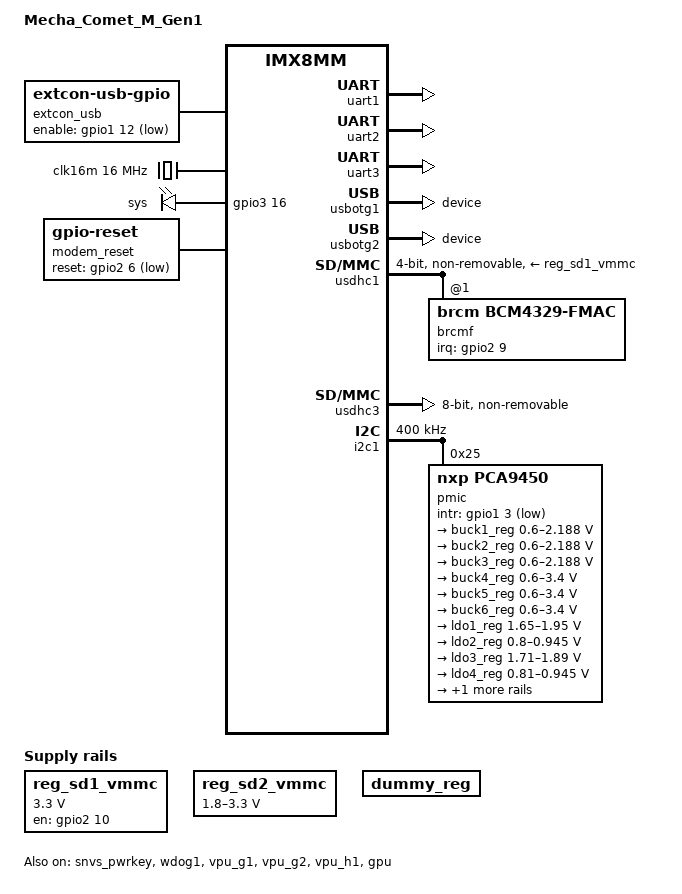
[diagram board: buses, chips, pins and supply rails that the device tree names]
// SPDX-License-Identifier: (GPL-2.0+ OR MIT)
/*
 * Copyright 2019 NXP
 */

/dts-v1/;

#include <dt-bindings/usb/pd.h>
#include "imx8mm.dtsi"

/ {
	model = "Mecha_Comet_M_Gen1";
	compatible = "fsl,imx8mm-evk", "fsl,imx8mm";

	reserved-memory {
		#address-cells = <2>;
		#size-cells = <2>;
		ranges;

		rpmsg_reserved: rpmsg@0xb8000000 {
			no-map;
			reg = <0 0xb8000000 0 0x400000>;
		};
	};

	chosen {
		stdout-path = &uart2;
	};

	extcon_usb: extcon_usb1otg {
		compatible = "linux,extcon-usb-gpio";
		pinctrl-names = "default";
		pinctrl-0 = <&pinctrl_extcon_usb>;
		// id-gpio = <&gpio1 10 GPIO_ACTIVE_HIGH>;
		enable-gpio = <&gpio1 12 GPIO_ACTIVE_LOW>;
	};

	clk16m: clk16m {
		compatible = "fixed-clock";
		#clock-cells = <0>;
		clock-frequency = <16000000>;
	};

	leds {
		compatible = "gpio-leds";
		pinctrl-names = "default";
		pinctrl-0 = <&pinctrl_gpio_led>;

		sys {
			label = "sys";
			gpios = <&gpio3 16 GPIO_ACTIVE_HIGH>;
			linux,default-trigger = "heartbeat";
		};

	/* Comment below section for control GPIO4_IO29 pin from user space */
	/*	beep {
			label = "beep";
			gpios = <&gpio4 29 GPIO_ACTIVE_HIGH>;
			default-state = "off";
		}; */
	};

	modem_reset: modem-reset {
		compatible = "gpio-reset";
		reset-gpios = <&gpio2 6 GPIO_ACTIVE_LOW>;
		reset-delay-us = <2000>;
		reset-post-delay-ms = <40>;
		#reset-cells = <0>;
	};

	regulators {
		compatible = "simple-bus";
		#address-cells = <1>;
		#size-cells = <0>;

		reg_sd1_vmmc: sd1_regulator {
			compatible = "regulator-fixed";
			regulator-name = "WLAN_EN";
			regulator-min-microvolt = <3300000>;
			regulator-max-microvolt = <3300000>;
			gpio = <&gpio2 10 GPIO_ACTIVE_HIGH>;
			off-on-delay = <20000>;
			startup-delay-us = <100>;
			enable-active-high;
		};

		reg_sd2_vmmc: sd2_regulator {
			compatible = "regulator-fixed";
			regulator-name = "NVCC_SD2";
			regulator-min-microvolt = <1800000>;
			regulator-max-microvolt = <3300000>;
		};

		dummy_reg: dummy_regulator {
			compatible = "regulator-fixed";
			regulator-name = "dummy";
		};
	};

	pcie0_refclk: pcie0-refclk {
		status = "disabled";
		compatible = "fixed-clock";
		#clock-cells = <0>;
		clock-frequency = <100000000>;
	};
};

&fec1 {
	status = "disabled";
};

&A53_0 {
	cpu-supply = <&buck2_reg>;
};

&pcie0{
	status = "disabled";
};

&snvs_pwrkey {
	status = "okay";
};

&uart1 { /* BT */
	pinctrl-names = "default";
	pinctrl-0 = <&pinctrl_uart1>;
	assigned-clocks = <&clk IMX8MM_CLK_UART1>;
	assigned-clock-parents = <&clk IMX8MM_SYS_PLL1_80M>;
	fsl,uart-has-rtscts;
	resets = <&modem_reset>;
	status = "okay";
};

&uart2 { /* console */
	pinctrl-names = "default";
	pinctrl-0 = <&pinctrl_uart2>;
	status = "okay";
};

&uart3 {
	pinctrl-names = "default";
	pinctrl-0 = <&pinctrl_uart3>;
//	assigned-clocks = <&clk IMX8MM_CLK_UART3>;
//	assigned-clock-parents = <&clk IMX8MM_SYS_PLL1_80M>;
//	fsl,uart-has-rtscts;
	status = "okay";
};

&uart4 {
	pinctrl-names = "default";
	pinctrl-0 = <&pinctrl_uart4>;
	/delete-property/ dmas;
	/delete-property/ dmas-names;
	status = "disable";
};

&usbotg1 {
	dr_mode = "device";
	status = "okay";
};

&usbotg2 {
	dr_mode = "device";
	status = "okay";
};

/* WIFI SDIO */
&usdhc1 {
	pinctrl-names = "default", "state_100mhz", "state_200mhz";
	pinctrl-0 = <&pinctrl_usdhc1>, <&pinctrl_usdhc1_gpio>;
	pinctrl-1 = <&pinctrl_usdhc1_100mhz>, <&pinctrl_usdhc1_gpio>;
	pinctrl-2 = <&pinctrl_usdhc1_200mhz>, <&pinctrl_usdhc1_gpio>;
	bus-width = <4>;
	vmmc-supply = <&reg_sd1_vmmc>;
	pm-ignore-notify;
	keep-power-in-suspend;
	non-removable;
	status = "okay";

	#address-cells = <1>;
	#size-cells = <0>;
	brcmf: bcrmf@1 {
		reg = <1>;
		compatible = "brcm,bcm4329-fmac";
		interrupt-parent = <&gpio2>;
		interrupts = <9 IRQ_TYPE_LEVEL_LOW>;
		interrupt-names = "host-wake";
	};
};

/* eMMC */
&usdhc3 {
	pinctrl-names = "default", "state_100mhz", "state_200mhz";
	pinctrl-0 = <&pinctrl_usdhc3>;
	pinctrl-1 = <&pinctrl_usdhc3_100mhz>;
	pinctrl-2 = <&pinctrl_usdhc3_200mhz>;
	bus-width = <8>;
	non-removable;
	status = "okay";
};

&wdog1 {
	pinctrl-names = "default";
	pinctrl-0 = <&pinctrl_wdog>;
	fsl,ext-reset-output;
	status = "okay";
};

&i2c1 {
	clock-frequency = <400000>;
	pinctrl-names = "default";
	pinctrl-0 = <&pinctrl_i2c1>;
	status = "okay";

	pmic: pca9450@25 {
		reg = <0x25>;
		compatible = "nxp,pca9450";
		/* PMIC PCA9450 PMIC_nINT GPIO1_IO3 */
		pinctrl-0 = <&pinctrl_pmic>;
		gpio_intr = <&gpio1 3 GPIO_ACTIVE_LOW>;

		regulators {
			#address-cells = <1>;
			#size-cells = <0>;

			pca9450,pmic-buck2-uses-i2c-dvs;
			/* Run/Standby voltage */
			pca9450,pmic-buck2-dvs-voltage = <950000>, <850000>;

			buck1_reg: regulator@0 {
				reg = <0>;
				regulator-compatible = "buck1";
				regulator-min-microvolt = <600000>;//<800000>;
				regulator-max-microvolt = <2187500>;//<1000000>;
				regulator-boot-on;
				regulator-always-on;
				regulator-ramp-delay = <3125>;
			};

			buck2_reg: regulator@1 {
				reg = <1>;
				regulator-compatible = "buck2";
				regulator-min-microvolt = <600000>;//<800000>;
				regulator-max-microvolt = <2187500>;//<900000>;
				regulator-boot-on;
				regulator-always-on;
				regulator-ramp-delay = <3125>;
			};

			buck3_reg: regulator@2 {
				reg = <2>;
				regulator-compatible = "buck3";
				regulator-min-microvolt = <600000>;//<800000>;
				regulator-max-microvolt = <2187500>;//<1000000>;
				regulator-boot-on;
				regulator-always-on;
			};

			buck4_reg: regulator@3 {
				reg = <3>;
				regulator-compatible = "buck4";
				regulator-min-microvolt = <600000>;//<3000000>;
				regulator-max-microvolt = <3400000>;//<3600000>;
				regulator-boot-on;
				regulator-always-on;
			};

			buck5_reg: regulator@4 {
				reg = <4>;
				regulator-compatible = "buck5";
				regulator-min-microvolt = <600000>;//<1650000>;
				regulator-max-microvolt = <3400000>;//<1950000>;
				regulator-boot-on;
				regulator-always-on;
			};

			buck6_reg: regulator@5 {
				reg = <5>;
				regulator-compatible = "buck6";
				regulator-min-microvolt = <600000>;//<1100000>;
				regulator-max-microvolt = <3400000>;//<1200000>;
				regulator-boot-on;
				regulator-always-on;
			};

			ldo1_reg: regulator@6 {
				reg = <6>;
				regulator-compatible = "ldo1";
				regulator-min-microvolt = <1650000>;
				regulator-max-microvolt = <1950000>;
				regulator-boot-on;
				regulator-always-on;
			};

			ldo2_reg: regulator@7 {
				reg = <7>;
				regulator-compatible = "ldo2";
				regulator-min-microvolt = <800000>;
				regulator-max-microvolt = <945000>;
				regulator-boot-on;
				regulator-always-on;
			};

			ldo3_reg: regulator@8 {
				reg = <8>;
				regulator-compatible = "ldo3";
				regulator-min-microvolt = <1710000>;
				regulator-max-microvolt = <1890000>;
				regulator-boot-on;
				regulator-always-on;
			};

			ldo4_reg: regulator@9 {
				reg = <9>;
				regulator-compatible = "ldo4";
				regulator-min-microvolt = <810000>;
				regulator-max-microvolt = <945000>;
				regulator-boot-on;
				regulator-always-on;
			};

			ldo5_reg: regulator@10 {
				reg = <10>;
				regulator-compatible = "ldo5";
				regulator-min-microvolt = <1650000>;
				regulator-max-microvolt = <3600000>;
			};
		};
	};
};

&snvs_rtc {
	status = "disabled";
};


&iomuxc {
	pinctrl-names = "default";


	pinctrl_gpio_led: gpioledgrp {
		fsl,pins = <
			MX8MM_IOMUXC_NAND_READY_B_GPIO3_IO16		0x19
			MX8MM_IOMUXC_SAI3_RXC_GPIO4_IO29			0x19	/* beep */
		>;
	};

	pinctrl_extcon_usb: extconusbgrp {
		fsl,pins = <
			// MX8MM_IOMUXC_GPIO1_IO10_GPIO1_IO10			0x140	/* otg_id */
			MX8MM_IOMUXC_GPIO1_IO12_GPIO1_IO12			0x19	/* otg_vbus */
		>;
	};

	pinctrl_pcie0: pcie0grp {
		fsl,pins = <
			MX8MM_IOMUXC_SAI5_RXD3_GPIO3_IO24			0x61 /* open drain, pull up */
			MX8MM_IOMUXC_GPIO1_IO08_GPIO1_IO8			0x19
			MX8MM_IOMUXC_GPIO1_IO09_GPIO1_IO9			0x19
		>;
	};
	
	pinctrl_i2c1: i2c1grp {
		fsl,pins = <
			MX8MM_IOMUXC_I2C1_SCL_I2C1_SCL                          0x400001c3
			MX8MM_IOMUXC_I2C1_SDA_I2C1_SDA                          0x400001c3
		>;
	};


	pinctrl_pmic: pmicirq {
		fsl,pins = <
			MX8MM_IOMUXC_GPIO1_IO03_GPIO1_IO3			0x41
		>;
	};

	pinctrl_uart1: uart1grp {
		fsl,pins = <
			MX8MM_IOMUXC_UART1_RXD_UART1_DCE_RX			0x140
			MX8MM_IOMUXC_UART1_TXD_UART1_DCE_TX			0x140
			MX8MM_IOMUXC_UART3_RXD_UART1_DCE_CTS_B		0x140
			MX8MM_IOMUXC_UART3_TXD_UART1_DCE_RTS_B		0x140
			MX8MM_IOMUXC_SD1_DATA4_GPIO2_IO6			0x19
		>;
	};

	pinctrl_uart2: uart2grp {
		fsl,pins = <
			MX8MM_IOMUXC_UART2_RXD_UART2_DCE_RX			0x140
			MX8MM_IOMUXC_UART2_TXD_UART2_DCE_TX			0x140
		>;
	};

	pinctrl_uart3: uart3grp {
		fsl,pins = <
			MX8MM_IOMUXC_ECSPI1_SCLK_UART3_DCE_RX           0x140
			MX8MM_IOMUXC_ECSPI1_MOSI_UART3_DCE_TX           0x140
		>;
	};

	pinctrl_uart4: uart4grp {
		fsl,pins = <
			MX8MM_IOMUXC_UART4_RXD_UART4_DCE_RX			0x140
			MX8MM_IOMUXC_UART4_TXD_UART4_DCE_TX			0x140
		>;
	};

	pinctrl_usdhc1_gpio: usdhc1grpgpio {
		fsl,pins = <
			MX8MM_IOMUXC_SD1_RESET_B_GPIO2_IO10			0x41	/* wl_reg_on */
			MX8MM_IOMUXC_SD1_DATA7_GPIO2_IO9			0x41	/* wl_host_wake */
			MX8MM_IOMUXC_GPIO1_IO00_ANAMIX_REF_CLK_32K	0x141	/* LP0: 32KHz */
		>;
	};

	pinctrl_usdhc1: usdhc1grp {
		fsl,pins = <
			MX8MM_IOMUXC_SD1_CLK_USDHC1_CLK				0x190
			MX8MM_IOMUXC_SD1_CMD_USDHC1_CMD				0x1d0
			MX8MM_IOMUXC_SD1_DATA0_USDHC1_DATA0			0x1d0
			MX8MM_IOMUXC_SD1_DATA1_USDHC1_DATA1			0x1d0
			MX8MM_IOMUXC_SD1_DATA2_USDHC1_DATA2			0x1d0
			MX8MM_IOMUXC_SD1_DATA3_USDHC1_DATA3			0x1d0
		>;
	};

	pinctrl_usdhc1_100mhz: usdhc1grp100mhz {
		fsl,pins = <
			MX8MM_IOMUXC_SD1_CLK_USDHC1_CLK		0x194
			MX8MM_IOMUXC_SD1_CMD_USDHC1_CMD		0x1d4
			MX8MM_IOMUXC_SD1_DATA0_USDHC1_DATA0	0x1d4
			MX8MM_IOMUXC_SD1_DATA1_USDHC1_DATA1	0x1d4
			MX8MM_IOMUXC_SD1_DATA2_USDHC1_DATA2	0x1d4
			MX8MM_IOMUXC_SD1_DATA3_USDHC1_DATA3	0x1d4
		>;
	};

	pinctrl_usdhc1_200mhz: usdhc1grp200mhz {
		fsl,pins = <
			MX8MM_IOMUXC_SD1_CLK_USDHC1_CLK		0x196
			MX8MM_IOMUXC_SD1_CMD_USDHC1_CMD		0x1d6
			MX8MM_IOMUXC_SD1_DATA0_USDHC1_DATA0	0x1d6
			MX8MM_IOMUXC_SD1_DATA1_USDHC1_DATA1	0x1d6
			MX8MM_IOMUXC_SD1_DATA2_USDHC1_DATA2	0x1d6
			MX8MM_IOMUXC_SD1_DATA3_USDHC1_DATA3	0x1d6
		>;
	};
/*
	pinctrl_usdhc2_gpio: usdhc2grpgpio {
		fsl,pins = <
			MX8MM_IOMUXC_SD2_CD_B_GPIO2_IO12			0x1c4
		>;
	};

	pinctrl_usdhc2: usdhc2grp {
		fsl,pins = <
			MX8MM_IOMUXC_SD2_CLK_USDHC2_CLK		0x190
			MX8MM_IOMUXC_SD2_CMD_USDHC2_CMD		0x1d0
			MX8MM_IOMUXC_SD2_DATA0_USDHC2_DATA0	0x1d0
			MX8MM_IOMUXC_SD2_DATA1_USDHC2_DATA1	0x1d0
			MX8MM_IOMUXC_SD2_DATA2_USDHC2_DATA2	0x1d0
			MX8MM_IOMUXC_SD2_DATA3_USDHC2_DATA3	0x1d0
		>;
	};

	pinctrl_usdhc2_100mhz: usdhc2grp100mhz {
		fsl,pins = <
			MX8MM_IOMUXC_SD2_CLK_USDHC2_CLK		0x194
			MX8MM_IOMUXC_SD2_CMD_USDHC2_CMD		0x1d4
			MX8MM_IOMUXC_SD2_DATA0_USDHC2_DATA0	0x1d4
			MX8MM_IOMUXC_SD2_DATA1_USDHC2_DATA1	0x1d4
			MX8MM_IOMUXC_SD2_DATA2_USDHC2_DATA2	0x1d4
			MX8MM_IOMUXC_SD2_DATA3_USDHC2_DATA3	0x1d4
		>;
	};

	pinctrl_usdhc2_200mhz: usdhc2grp200mhz {
		fsl,pins = <
			MX8MM_IOMUXC_SD2_CLK_USDHC2_CLK		0x196
			MX8MM_IOMUXC_SD2_CMD_USDHC2_CMD		0x1d6
			MX8MM_IOMUXC_SD2_DATA0_USDHC2_DATA0	0x1d6
			MX8MM_IOMUXC_SD2_DATA1_USDHC2_DATA1	0x1d6
			MX8MM_IOMUXC_SD2_DATA2_USDHC2_DATA2	0x1d6
			MX8MM_IOMUXC_SD2_DATA3_USDHC2_DATA3	0x1d6
		>;
	};
*/
	pinctrl_usdhc3: usdhc3grp {
		fsl,pins = <
			MX8MM_IOMUXC_NAND_WE_B_USDHC3_CLK		0x190
			MX8MM_IOMUXC_NAND_WP_B_USDHC3_CMD		0x1d0
			MX8MM_IOMUXC_NAND_DATA04_USDHC3_DATA0		0x1d0
			MX8MM_IOMUXC_NAND_DATA05_USDHC3_DATA1		0x1d0
			MX8MM_IOMUXC_NAND_DATA06_USDHC3_DATA2		0x1d0
			MX8MM_IOMUXC_NAND_DATA07_USDHC3_DATA3		0x1d0
			MX8MM_IOMUXC_NAND_RE_B_USDHC3_DATA4		0x1d0
			MX8MM_IOMUXC_NAND_CE2_B_USDHC3_DATA5		0x1d0
			MX8MM_IOMUXC_NAND_CE3_B_USDHC3_DATA6		0x1d0
			MX8MM_IOMUXC_NAND_CLE_USDHC3_DATA7		0x1d0
			MX8MM_IOMUXC_NAND_CE1_B_USDHC3_STROBE 		0x190
		>;
	};

	pinctrl_usdhc3_100mhz: usdhc3grp100mhz {
		fsl,pins = <
			MX8MM_IOMUXC_NAND_WE_B_USDHC3_CLK		0x194
			MX8MM_IOMUXC_NAND_WP_B_USDHC3_CMD		0x1d4
			MX8MM_IOMUXC_NAND_DATA04_USDHC3_DATA0		0x1d4
			MX8MM_IOMUXC_NAND_DATA05_USDHC3_DATA1		0x1d4
			MX8MM_IOMUXC_NAND_DATA06_USDHC3_DATA2		0x1d4
			MX8MM_IOMUXC_NAND_DATA07_USDHC3_DATA3		0x1d4
			MX8MM_IOMUXC_NAND_RE_B_USDHC3_DATA4		0x1d4
			MX8MM_IOMUXC_NAND_CE2_B_USDHC3_DATA5		0x1d4
			MX8MM_IOMUXC_NAND_CE3_B_USDHC3_DATA6		0x1d4
			MX8MM_IOMUXC_NAND_CLE_USDHC3_DATA7		0x1d4
			MX8MM_IOMUXC_NAND_CE1_B_USDHC3_STROBE 		0x194
		>;
	};

	pinctrl_usdhc3_200mhz: usdhc3grp200mhz {
		fsl,pins = <
			MX8MM_IOMUXC_NAND_WE_B_USDHC3_CLK		0x196
			MX8MM_IOMUXC_NAND_WP_B_USDHC3_CMD		0x1d6
			MX8MM_IOMUXC_NAND_DATA04_USDHC3_DATA0		0x1d6
			MX8MM_IOMUXC_NAND_DATA05_USDHC3_DATA1		0x1d6
			MX8MM_IOMUXC_NAND_DATA06_USDHC3_DATA2		0x1d6
			MX8MM_IOMUXC_NAND_DATA07_USDHC3_DATA3		0x1d6
			MX8MM_IOMUXC_NAND_RE_B_USDHC3_DATA4		0x1d6
			MX8MM_IOMUXC_NAND_CE2_B_USDHC3_DATA5		0x1d6
			MX8MM_IOMUXC_NAND_CE3_B_USDHC3_DATA6		0x1d6
			MX8MM_IOMUXC_NAND_CLE_USDHC3_DATA7		0x1d6
			MX8MM_IOMUXC_NAND_CE1_B_USDHC3_STROBE 		0x196
		>;
	};

	pinctrl_wdog: wdoggrp {
		fsl,pins = <
			MX8MM_IOMUXC_GPIO1_IO02_WDOG1_WDOG_B			0xc6
		>;
	};
};

&vpu_g1 {
	status = "okay";
};

&vpu_g2 {
	status = "okay";
};

&vpu_h1 {
	status = "okay";
};

&gpu {
	status = "okay";
};
